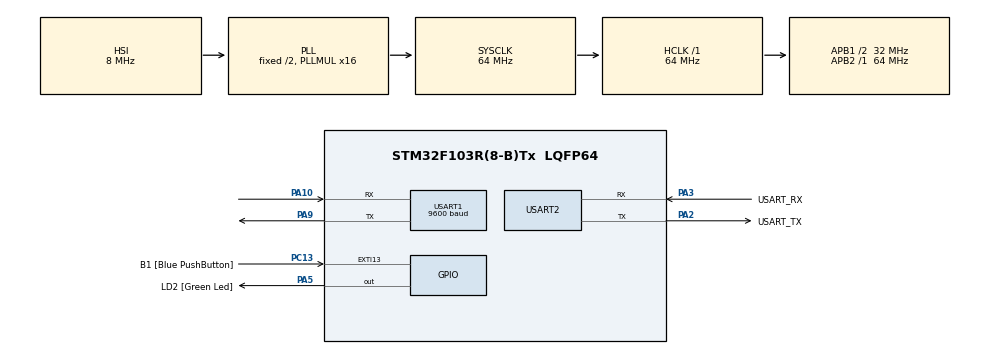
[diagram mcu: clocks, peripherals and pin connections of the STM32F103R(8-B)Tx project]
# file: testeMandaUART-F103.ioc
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Mcu.Family=STM32F1
Mcu.Name=STM32F103R(8-B)Tx
Mcu.Package=LQFP64
NVIC.EXTI15_10_IRQn=true\:0\:0\:false\:false\:true\:true\:true\:true
NVIC.PriorityGroup=NVIC_PRIORITYGROUP_4
NVIC.USART1_IRQn=true\:0\:0\:false\:false\:true\:true\:true\:true
PA10.Mode=Asynchronous
PA10.Signal=USART1_RX
PA13.GPIO_Label=TMS
PA13.Mode=Serial_Wire
PA13.Signal=SYS_JTMS-SWDIO
PA14.GPIO_Label=TCK
PA14.Mode=Serial_Wire
PA14.Signal=SYS_JTCK-SWCLK
PA2.GPIO_Label=USART_TX
PA2.GPIO_Mode=GPIO_MODE_AF_PP
PA2.GPIO_PuPd=GPIO_NOPULL
PA2.GPIO_Speed=GPIO_SPEED_FREQ_LOW
PA2.Mode=Asynchronous
PA2.Signal=USART2_TX
PA3.GPIO_Label=USART_RX
PA3.GPIO_Mode=GPIO_MODE_AF_PP
PA3.GPIO_PuPd=GPIO_NOPULL
PA3.GPIO_Speed=GPIO_SPEED_FREQ_LOW
PA3.Mode=Asynchronous
PA3.Signal=USART2_RX
PA5.GPIO_Label=LD2 [Green Led]
PA5.GPIO_ModeDefaultOutputPP=GPIO_MODE_OUTPUT_PP
PA5.GPIO_PuPd=GPIO_NOPULL
PA5.GPIO_Speed=GPIO_SPEED_FREQ_LOW
PA5.Signal=GPIO_Output
PA9.Mode=Asynchronous
PA9.Signal=USART1_TX
PB3.GPIO_Label=SWO
PB3.Signal=SYS_JTDO-TRACESWO
PC13-TAMPER-RTC.GPIO_Label=B1 [Blue PushButton]
PC13-TAMPER-RTC.GPIO_PuPd=GPIO_NOPULL
PC13-TAMPER-RTC.Signal=GPXTI13
PC14-OSC32_IN.Mode=LSE-External-Oscillator
PC14-OSC32_IN.Signal=RCC_OSC32_IN
PC15-OSC32_OUT.Mode=LSE-External-Oscillator
PC15-OSC32_OUT.Signal=RCC_OSC32_OUT
PD0-OSC_IN.Mode=HSE-External-Clock-Source
PD0-OSC_IN.Signal=RCC_OSC_IN
PD1-OSC_OUT.Mode=HSE-External-Clock-Source
PD1-OSC_OUT.Signal=RCC_OSC_OUT
ProjectManager.HeapSize=0x200
ProjectManager.StackSize=0x400
ProjectManager.TargetToolchain=CMake
RCC.AHBFreq_Value=64000000
RCC.APB1CLKDivider=RCC_HCLK_DIV2
RCC.APB1Freq_Value=32000000
RCC.APB1TimFreq_Value=64000000
RCC.APB2Freq_Value=64000000
RCC.APB2TimFreq_Value=64000000
RCC.HCLKFreq_Value=64000000
RCC.PLLMUL=RCC_PLL_MUL16
RCC.RTCClockSelection=RCC_RTCCLKSOURCE_LSE
RCC.SYSCLKFreq_VALUE=64000000
RCC.SYSCLKSource=RCC_SYSCLKSOURCE_PLLCLK
RCC.USBFreq_Value=64000000
USART1.BaudRate=9600
USART1.VirtualMode=VM_ASYNC
USART2.VirtualMode=VM_ASYNC
board=NUCLEO-F103RB

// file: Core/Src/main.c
/* USER CODE BEGIN Header */
/**
  ******************************************************************************
  Teste de UART entre dois dispositivos
  Está preparado para mandar um comando pela UART1 (pinos D2 RX e D8 TX)
  e receber de volta e printar pela UART2 (computador)
  Baud rate de 9600 para UART1 e 115200 para UART2

  Sofia, 2026
  ******************************************************************************
  */
/* USER CODE END Header */
#include "main.h"
#include "stm32f1xx_hal_uart.h"

/* USER CODE BEGIN Includes */
#include <stdio.h>
/* USER CODE END Includes */

UART_HandleTypeDef huart1;
UART_HandleTypeDef huart2;

/* USER CODE BEGIN PV */
uint8_t counter;
uint8_t txBuffer[1];
uint8_t rxBuffer[1];
/* USER CODE END PV */

void SystemClock_Config(void);
static void MX_GPIO_Init(void);
static void MX_USART1_UART_Init(void);
static void MX_USART2_UART_Init(void);

int main(void)
{

  /* MCU Configuration--------------------------------------------------------*/

  /* Reset of all peripherals, Initializes the Flash interface and the Systick. */
  HAL_Init();

  /* Configure the system clock */
  SystemClock_Config();

  /* Initialize all configured peripherals */
  MX_GPIO_Init();
  MX_USART1_UART_Init();
  MX_USART2_UART_Init();

  /* Infinite loop */
  /* USER CODE BEGIN WHILE */
  counter = 15;
  HAL_UART_Receive_IT(&huart1, rxBuffer, sizeof(rxBuffer));
  while (1)
  {
    txBuffer[0] = counter;
    HAL_UART_Transmit(&huart1, txBuffer, sizeof(txBuffer), 1000);
    //printf("Enviado: %d\r\n", txBuffer[0]);
    counter++;
    HAL_Delay (1000);
    /* USER CODE END WHILE */

  }
}

void SystemClock_Config(void)
{
  RCC_OscInitTypeDef RCC_OscInitStruct = {0};
  RCC_ClkInitTypeDef RCC_ClkInitStruct = {0};

  /** Initializes the RCC Oscillators according to the specified parameters
  * in the RCC_OscInitTypeDef structure.
  */
  RCC_OscInitStruct.OscillatorType = RCC_OSCILLATORTYPE_HSI;
  RCC_OscInitStruct.HSIState = RCC_HSI_ON;
  RCC_OscInitStruct.HSICalibrationValue = RCC_HSICALIBRATION_DEFAULT;
  RCC_OscInitStruct.PLL.PLLState = RCC_PLL_ON;
  RCC_OscInitStruct.PLL.PLLSource = RCC_PLLSOURCE_HSI_DIV2;
  RCC_OscInitStruct.PLL.PLLMUL = RCC_PLL_MUL16;
  if (HAL_RCC_OscConfig(&RCC_OscInitStruct) != HAL_OK)
  {
    Error_Handler();
  }

  /** Initializes the CPU, AHB and APB buses clocks
  */
  RCC_ClkInitStruct.ClockType = RCC_CLOCKTYPE_HCLK|RCC_CLOCKTYPE_SYSCLK
                              |RCC_CLOCKTYPE_PCLK1|RCC_CLOCKTYPE_PCLK2;
  RCC_ClkInitStruct.SYSCLKSource = RCC_SYSCLKSOURCE_PLLCLK;
  RCC_ClkInitStruct.AHBCLKDivider = RCC_SYSCLK_DIV1;
  RCC_ClkInitStruct.APB1CLKDivider = RCC_HCLK_DIV2;
  RCC_ClkInitStruct.APB2CLKDivider = RCC_HCLK_DIV1;

  if (HAL_RCC_ClockConfig(&RCC_ClkInitStruct, FLASH_LATENCY_2) != HAL_OK)
  {
    Error_Handler();
  }
}

static void MX_USART1_UART_Init(void)
{

  huart1.Instance = USART1;
  huart1.Init.BaudRate = 9600;
  huart1.Init.WordLength = UART_WORDLENGTH_8B;
  huart1.Init.StopBits = UART_STOPBITS_1;
  huart1.Init.Parity = UART_PARITY_NONE;
  huart1.Init.Mode = UART_MODE_TX_RX;
  huart1.Init.HwFlowCtl = UART_HWCONTROL_NONE;
  huart1.Init.OverSampling = UART_OVERSAMPLING_16;
  if (HAL_UART_Init(&huart1) != HAL_OK)
  {
    Error_Handler();
  }

}

static void MX_USART2_UART_Init(void)
{

  huart2.Instance = USART2;
  huart2.Init.BaudRate = 115200;
  huart2.Init.WordLength = UART_WORDLENGTH_8B;
  huart2.Init.StopBits = UART_STOPBITS_1;
  huart2.Init.Parity = UART_PARITY_NONE;
  huart2.Init.Mode = UART_MODE_TX_RX;
  huart2.Init.HwFlowCtl = UART_HWCONTROL_NONE;
  huart2.Init.OverSampling = UART_OVERSAMPLING_16;
  if (HAL_UART_Init(&huart2) != HAL_OK)
  {
    Error_Handler();
  }

}

static void MX_GPIO_Init(void)
{
  GPIO_InitTypeDef GPIO_InitStruct = {0};

  /* GPIO Ports Clock Enable */
  __HAL_RCC_GPIOC_CLK_ENABLE();
  __HAL_RCC_GPIOD_CLK_ENABLE();
  __HAL_RCC_GPIOA_CLK_ENABLE();
  __HAL_RCC_GPIOB_CLK_ENABLE();

  /*Configure GPIO pin Output Level */
  HAL_GPIO_WritePin(LD2_GPIO_Port, LD2_Pin, GPIO_PIN_RESET);

  /*Configure GPIO pin : B1_Pin */
  GPIO_InitStruct.Pin = B1_Pin;
  GPIO_InitStruct.Mode = GPIO_MODE_IT_RISING;
  GPIO_InitStruct.Pull = GPIO_NOPULL;
  HAL_GPIO_Init(B1_GPIO_Port, &GPIO_InitStruct);

  /*Configure GPIO pin : LD2_Pin */
  GPIO_InitStruct.Pin = LD2_Pin;
  GPIO_InitStruct.Mode = GPIO_MODE_OUTPUT_PP;
  GPIO_InitStruct.Pull = GPIO_NOPULL;
  GPIO_InitStruct.Speed = GPIO_SPEED_FREQ_LOW;
  HAL_GPIO_Init(LD2_GPIO_Port, &GPIO_InitStruct);

  /* EXTI interrupt init*/
  HAL_NVIC_SetPriority(EXTI15_10_IRQn, 0, 0);
  HAL_NVIC_EnableIRQ(EXTI15_10_IRQn);

}

/* USER CODE BEGIN 4 */
void HAL_UART_RxCpltCallback(UART_HandleTypeDef *huart) {
  if(huart->Instance == USART1) {
    uint8_t rx = rxBuffer[0];
    printf("Recebido: %d\r\n", rx);
    HAL_UART_Receive_IT(&huart1, rxBuffer, sizeof(rxBuffer));
  }

}

int __io_putchar(int ch)
{
  HAL_UART_Transmit(&huart2, (uint8_t *)&ch, 1, HAL_MAX_DELAY);
  return ch;
}
/* USER CODE END 4 */

void Error_Handler(void)
{
  __disable_irq();
  while (1)
  {
  }
}
